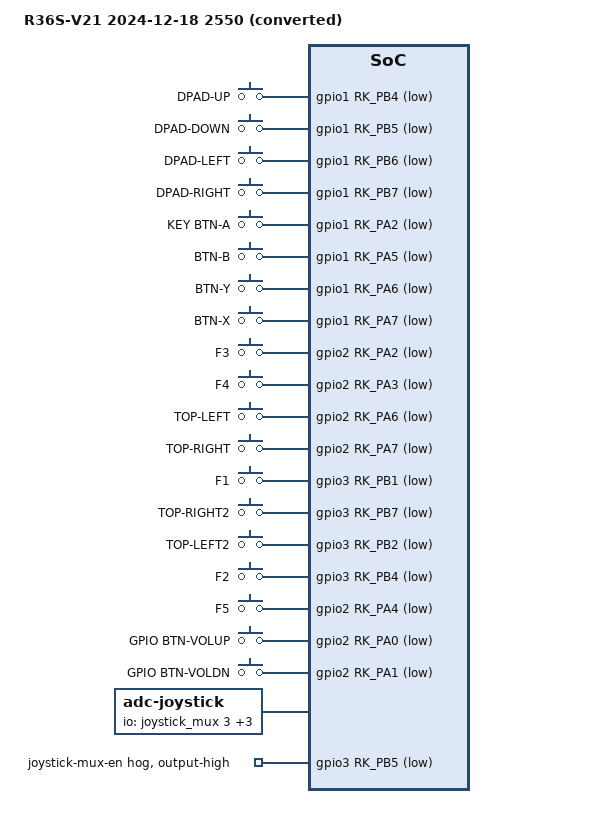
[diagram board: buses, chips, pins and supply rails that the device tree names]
// SPDX-License-Identifier: (GPL-2.0+ OR MIT)
/*
 * R36S-V21 2024-12-18 2550, converted from a vendor RK3326 device tree by
 * `r36os dtb import` (boot-dtb-select D12). Do not edit: import again.
 * Source: darkosre/files/BOOT/dtb/r36s/R36S-V21 2024-12-18 2550/rk3326-r36s-linux.dtb
 * SHA-256: c4b4d7467954e3c2491f5a39acd7e2045cf52292c1cf96841c92d0f0c92cd060
 * Note: sticks: axes from the ROCKNIX joypad mapping, not measured
 * Note: speaker gain: source spk-volume 3 ignored, the native safe value is used
 */

#include "rk3326-r36s-v5.dts"

/ {
	model = "R36S-V21 2024-12-18 2550 (converted)";

	lume-select {
		lume,id = "darkosre-r36s-r36s-v21-2024-12-18-2550";
		lume,priority = <0>;
		/delete-property/ lume,default;
		/delete-property/ lume,panel-id;
	};

	/delete-node/ gpio-keys;
	/delete-node/ volume-keys;

	gpio-keys {
		compatible = "gpio-keys";
		pinctrl-names = "default";
		pinctrl-0 = <&btn_pins>;

		button-dpad-up {
			gpios = <&gpio1 RK_PB4 GPIO_ACTIVE_LOW>;
			label = "DPAD-UP";
			linux,code = <0x220>;
		};

		button-dpad-down {
			gpios = <&gpio1 RK_PB5 GPIO_ACTIVE_LOW>;
			label = "DPAD-DOWN";
			linux,code = <0x221>;
		};

		button-dpad-left {
			gpios = <&gpio1 RK_PB6 GPIO_ACTIVE_LOW>;
			label = "DPAD-LEFT";
			linux,code = <0x222>;
		};

		button-dpad-right {
			gpios = <&gpio1 RK_PB7 GPIO_ACTIVE_LOW>;
			label = "DPAD-RIGHT";
			linux,code = <0x223>;
		};

		button-key-btn-a {
			gpios = <&gpio1 RK_PA2 GPIO_ACTIVE_LOW>;
			label = "KEY BTN-A";
			linux,code = <0x131>;
		};

		button-btn-b {
			gpios = <&gpio1 RK_PA5 GPIO_ACTIVE_LOW>;
			label = "BTN-B";
			linux,code = <0x130>;
		};

		button-btn-y {
			gpios = <&gpio1 RK_PA6 GPIO_ACTIVE_LOW>;
			label = "BTN-Y";
			linux,code = <0x134>;
		};

		button-btn-x {
			gpios = <&gpio1 RK_PA7 GPIO_ACTIVE_LOW>;
			label = "BTN-X";
			linux,code = <0x133>;
		};

		button-f3 {
			gpios = <&gpio2 RK_PA2 GPIO_ACTIVE_LOW>;
			label = "F3";
			linux,code = <0x2c2>;
		};

		button-f4 {
			gpios = <&gpio2 RK_PA3 GPIO_ACTIVE_LOW>;
			label = "F4";
			linux,code = <0x2c3>;
		};

		button-top-left {
			gpios = <&gpio2 RK_PA6 GPIO_ACTIVE_LOW>;
			label = "TOP-LEFT";
			linux,code = <0x136>;
		};

		button-top-right {
			gpios = <&gpio2 RK_PA7 GPIO_ACTIVE_LOW>;
			label = "TOP-RIGHT";
			linux,code = <0x137>;
		};

		button-f1 {
			gpios = <&gpio3 RK_PB1 GPIO_ACTIVE_LOW>;
			label = "F1";
			linux,code = <0x2c0>;
		};

		button-top-right2 {
			gpios = <&gpio3 RK_PB7 GPIO_ACTIVE_LOW>;
			label = "TOP-RIGHT2";
			linux,code = <0x139>;
		};

		button-top-left2 {
			gpios = <&gpio3 RK_PB2 GPIO_ACTIVE_LOW>;
			label = "TOP-LEFT2";
			linux,code = <0x138>;
		};

		button-f2 {
			gpios = <&gpio3 RK_PB4 GPIO_ACTIVE_LOW>;
			label = "F2";
			linux,code = <0x2c1>;
		};

		button-f5 {
			gpios = <&gpio2 RK_PA4 GPIO_ACTIVE_LOW>;
			label = "F5";
			linux,code = <0x2c4>;
		};
	};

	volume-keys {
		compatible = "gpio-keys";
		pinctrl-names = "default";
		pinctrl-0 = <&vol_pins>;
		autorepeat;

		button-gpio-btn-volup {
			gpios = <&gpio2 RK_PA0 GPIO_ACTIVE_LOW>;
			label = "GPIO BTN-VOLUP";
			linux,code = <0x73>;
		};

		button-gpio-btn-voldn {
			gpios = <&gpio2 RK_PA1 GPIO_ACTIVE_LOW>;
			label = "GPIO BTN-VOLDN";
			linux,code = <0x72>;
		};
	};

	/delete-node/ adc-joystick;

	adc-joystick {
		compatible = "adc-joystick";
		io-channels = <&joystick_mux 3>,
			      <&joystick_mux 1>,
			      <&joystick_mux 2>,
			      <&joystick_mux 0>;
		poll-interval = <10>;
		#address-cells = <1>;
		#size-cells = <0>;

		axis@0 {
			reg = <0>;
			abs-flat = <32>;
			abs-fuzz = <32>;
			abs-range = <0 1023>;
			linux,code = <ABS_RY>;
		};

		axis@1 {
			reg = <1>;
			abs-flat = <32>;
			abs-fuzz = <32>;
			abs-range = <0 1023>;
			linux,code = <ABS_RX>;
		};

		axis@2 {
			reg = <2>;
			abs-flat = <32>;
			abs-fuzz = <32>;
			abs-range = <1023 0>;
			linux,code = <ABS_Y>;
		};

		axis@3 {
			reg = <3>;
			abs-flat = <32>;
			abs-fuzz = <32>;
			abs-range = <1023 0>;
			linux,code = <ABS_X>;
		};
	};

	mux-controller {
		mux-gpios = <&gpio3 RK_PB3 GPIO_ACTIVE_LOW>,
			    <&gpio3 RK_PB0 GPIO_ACTIVE_LOW>;
	};

	adc-mux {
		io-channels = <&saradc 1>;
	};

	/delete-node/ gpio-leds;

	rk817-sound {
		simple-audio-card,hp-det-gpios = <&gpio2 RK_PC6 GPIO_ACTIVE_LOW>;
	};
};

&internal_display {
	compatible = "rocknix,generic-dsi";
	/delete-property/ vcc-supply;
	vdd-supply = <&vcc_lcd>;
	reset-gpios = <&gpio3 RK_PC0 GPIO_ACTIVE_LOW>;
	panel_description =
		"G size=52,70 delays=20,150,20,120,20 format=rgb888 lanes=4 flags=0xe03",
		"M clock=29000 horizontal=640,46,2,44 vertical=480,165,2,14 default=1",
		"M clock=58000 horizontal=640,300,200,300 vertical=480,17,5,13",
		"I seq=ff30",
		"I seq=ff52",
		"I seq=ff01",
		"I seq=e300",
		"I seq=2510",
		"I seq=286f",
		"I seq=2901",
		"I seq=2adf",
		"I seq=2c22",
		"I seq=c30f",
		"I seq=379c",
		"I seq=38a7",
		"I seq=3941",
		"I seq=8020",
		"I seq=9167",
		"I seq=9267",
		"I seq=a055",
		"I seq=a150",
		"I seq=a358",
		"I seq=a49c",
		"I seq=a702",
		"I seq=a801",
		"I seq=a921",
		"I seq=aafc",
		"I seq=ab28",
		"I seq=ac06",
		"I seq=ad06",
		"I seq=ae06",
		"I seq=af03",
		"I seq=b008",
		"I seq=b126",
		"I seq=b228",
		"I seq=b328",
		"I seq=b403",
		"I seq=b508",
		"I seq=b626",
		"I seq=b708",
		"I seq=b826",
		"I seq=2c22 # 2",
		"I seq=5c40",
		"I seq=c000",
		"I seq=c100",
		"I seq=c200",
		"I seq=ff30 # 2",
		"I seq=ff52 # 2",
		"I seq=ff02",
		"I seq=b002",
		"I seq=d002",
		"I seq=b10f",
		"I seq=d110",
		"I seq=b211",
		"I seq=d212",
		"I seq=b332",
		"I seq=d333",
		"I seq=b436",
		"I seq=d436",
		"I seq=b53c",
		"I seq=d53c",
		"I seq=b620",
		"I seq=d620",
		"I seq=b73e",
		"I seq=d73e",
		"I seq=b80e",
		"I seq=d80d",
		"I seq=b905",
		"I seq=d905",
		"I seq=ba11",
		"I seq=da12",
		"I seq=bb11",
		"I seq=db11",
		"I seq=bc13",
		"I seq=dc14",
		"I seq=bd14",
		"I seq=dd14",
		"I seq=be16",
		"I seq=de18",
		"I seq=bf0e",
		"I seq=df0f",
		"I seq=c017",
		"I seq=e017",
		"I seq=c107",
		"I seq=e108",
		"I seq=ff30 # 3",
		"I seq=ff52 # 3",
		"I seq=ff03",
		"I seq=088a",
		"I seq=098b",
		"I seq=3000",
		"I seq=3100",
		"I seq=3200",
		"I seq=3300",
		"I seq=3461",
		"I seq=35d4",
		"I seq=3624",
		"I seq=3703",
		"I seq=4086",
		"I seq=4187",
		"I seq=4284",
		"I seq=4385",
		"I seq=4411",
		"I seq=45de",
		"I seq=46dd",
		"I seq=4711",
		"I seq=48e0",
		"I seq=49df",
		"I seq=5082",
		"I seq=5183",
		"I seq=5280",
		"I seq=5381",
		"I seq=5411",
		"I seq=55e2",
		"I seq=56e1",
		"I seq=5711",
		"I seq=58e4",
		"I seq=59e3",
		"I seq=820f",
		"I seq=830f",
		"I seq=8400",
		"I seq=850f",
		"I seq=860f",
		"I seq=870e",
		"I seq=880e",
		"I seq=8906",
		"I seq=8a06",
		"I seq=8b07",
		"I seq=8c07",
		"I seq=8d04",
		"I seq=8e04",
		"I seq=8f05",
		"I seq=9005",
		"I seq=980f",
		"I seq=990f",
		"I seq=9a00",
		"I seq=9b0f",
		"I seq=9c0f",
		"I seq=9d0e",
		"I seq=9e0e",
		"I seq=9f06",
		"I seq=a006",
		"I seq=a107",
		"I seq=a207",
		"I seq=a304",
		"I seq=a404",
		"I seq=a505",
		"I seq=a605",
		"I seq=e002",
		"I seq=e152",
		"I seq=ff30 # 4",
		"I seq=ff52 # 4",
		"I seq=ff00",
		"I seq=3602",
		"I seq=11 wait=c8",
		"I seq=29 wait=14";
};

&dsi {
	rockchip,lane-rate = <193>;
};

&backlight {
	pwms = <&pwm1 0 62745 0>;
	/delete-property/ num-interpolated-steps;
	brightness-levels = <0 1 2 3 4 5 6 7 8 9 10 11 12 13 14 15 16 17 18 19 20 21 22 23 24 25 26 27 28 29 30 31 32 33 34 35 36 37 38 39 40 41 42 43 44 45 46 47 48 49 50 51 52 53 54 55 56 57 58 59 60 61 62 63 64 65 66 67 68 69 70 71 72 73 74 75 76 77 78 79 80 81 82 83 84 85 86 87 88 89 90 91 92 93 94 95 96 97 98 99 100 101 102 103 104 105 106 107 108 109 110 111 112 113 114 115 116 117 118 119 120 121 122 123 124 125 126 127 128 129 130 131 132 133 134 135 136 137 138 139 140 141 142 143 144 145 146 147 148 149 150 151 152 153 154 155 156 157 158 159 160>;
	default-brightness-level = <51>;
};

&battery {
	charge-full-design-microamp-hours = <3380000>;
	voltage-max-design-microvolt = <4000000>;
	voltage-min-design-microvolt = <3165000>;
	ocv-capacity-table-0 = <4000000 100>,
				<3995000 95>,
				<3990000 90>,
				<3950000 85>,
				<3910000 80>,
				<3870000 75>,
				<3830000 70>,
				<3790000 65>,
				<3750000 60>,
				<3710000 55>,
				<3670000 50>,
				<3630000 45>,
				<3580000 40>,
				<3530000 35>,
				<3480000 30>,
				<3430000 25>,
				<3380000 20>,
				<3330000 15>,
				<3280000 10>,
				<3220000 5>,
				<3165000 0>;
};

&spk_amp {
	/delete-property/ enable-gpios;
	/delete-property/ pinctrl-names;
	/delete-property/ pinctrl-0;
};

&rk817 {
	interrupt-parent = <&gpio0>;
	interrupts = <RK_PB2 IRQ_TYPE_LEVEL_LOW>;
};

&gpio0 {
	/delete-node/ joystick-mux-en-hog;
};

&gpio1 {
	/delete-node/ lcd-enable-hog;
};

&gpio3 {
	/delete-node/ lcd-stbyb-hog;
	joystick-mux-en-hog {
		gpio-hog;
		gpios = <RK_PB5 GPIO_ACTIVE_LOW>;
		output-high;
		line-name = "joystick-mux-en";
	};
};

&btn_pins {
	rockchip,pins =
		<1 RK_PB4 RK_FUNC_GPIO &pcfg_pull_up>,
		<1 RK_PB5 RK_FUNC_GPIO &pcfg_pull_up>,
		<1 RK_PB6 RK_FUNC_GPIO &pcfg_pull_up>,
		<1 RK_PB7 RK_FUNC_GPIO &pcfg_pull_up>,
		<1 RK_PA2 RK_FUNC_GPIO &pcfg_pull_up>,
		<1 RK_PA5 RK_FUNC_GPIO &pcfg_pull_up>,
		<1 RK_PA6 RK_FUNC_GPIO &pcfg_pull_up>,
		<1 RK_PA7 RK_FUNC_GPIO &pcfg_pull_up>,
		<2 RK_PA2 RK_FUNC_GPIO &pcfg_pull_up>,
		<2 RK_PA3 RK_FUNC_GPIO &pcfg_pull_up>,
		<2 RK_PA6 RK_FUNC_GPIO &pcfg_pull_up>,
		<2 RK_PA7 RK_FUNC_GPIO &pcfg_pull_up>,
		<3 RK_PB1 RK_FUNC_GPIO &pcfg_pull_up>,
		<3 RK_PB7 RK_FUNC_GPIO &pcfg_pull_up>,
		<3 RK_PB2 RK_FUNC_GPIO &pcfg_pull_up>,
		<3 RK_PB4 RK_FUNC_GPIO &pcfg_pull_up>,
		<2 RK_PA4 RK_FUNC_GPIO &pcfg_pull_up>;
};

&vol_pins {
	rockchip,pins =
		<2 RK_PA0 RK_FUNC_GPIO &pcfg_pull_up>,
		<2 RK_PA1 RK_FUNC_GPIO &pcfg_pull_up>;
};

&hp_det {
	rockchip,pins = <2 RK_PC6 RK_FUNC_GPIO &pcfg_pull_none>;
};

&pmic_int {
	rockchip,pins = <0 RK_PB2 RK_FUNC_GPIO &pcfg_pull_up>;
};
